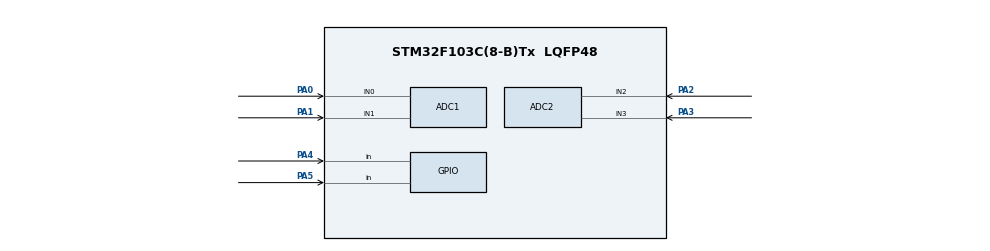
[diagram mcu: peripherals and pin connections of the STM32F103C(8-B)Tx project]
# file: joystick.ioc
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ADC1.Channel-0\#ChannelRegularConversion=ADC_CHANNEL_0
ADC1.NbrOfConversionFlag=1
ADC1.Rank-0\#ChannelRegularConversion=1
ADC1.SamplingTime-0\#ChannelRegularConversion=ADC_SAMPLETIME_55CYCLES_5
ADC1.master=1
ADC2.Channel-0\#ChannelRegularConversion=ADC_CHANNEL_2
ADC2.NbrOfConversionFlag=1
ADC2.Rank-0\#ChannelRegularConversion=1
ADC2.SamplingTime-0\#ChannelRegularConversion=ADC_SAMPLETIME_55CYCLES_5
Mcu.Family=STM32F1
Mcu.Name=STM32F103C(8-B)Tx
Mcu.Package=LQFP48
NVIC.PriorityGroup=NVIC_PRIORITYGROUP_4
PA0-WKUP.Signal=ADCx_IN0
PA1.Signal=ADCx_IN1
PA2.Signal=ADCx_IN2
PA3.Signal=ADCx_IN3
PA4.GPIO_PuPd=GPIO_PULLUP
PA4.Signal=GPIO_Input
PA5.GPIO_PuPd=GPIO_PULLUP
PA5.Signal=GPIO_Input
ProjectManager.HeapSize=0x200
ProjectManager.StackSize=0x400
ProjectManager.TargetToolchain=MDK-ARM V5.32
RCC.APB1Freq_Value=8000000
RCC.APB2Freq_Value=8000000
SH.ADCx_IN0.0=ADC1_IN0,IN0
SH.ADCx_IN1.0=ADC1_IN1,IN1
SH.ADCx_IN2.0=ADC2_IN2,IN2
SH.ADCx_IN3.0=ADC2_IN3,IN3
VP_SYS_VS_ND.Mode=No_Debug
board=custom

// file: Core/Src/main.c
/* USER CODE BEGIN Header */
/**
  ******************************************************************************
  * @file           : main.c
  * @brief          : Main program body
  ******************************************************************************
  * @attention
  *
  * Copyright (c) 2024 STMicroelectronics.
  * All rights reserved.
  *
  * This software is licensed under terms that can be found in the LICENSE file
  * in the root directory of this software component.
  * If no LICENSE file comes with this software, it is provided AS-IS.
  *
  ******************************************************************************
  */
/* USER CODE END Header */
#include "main.h"

/* USER CODE BEGIN Includes */
#include<stdio.h>
/* USER CODE END Includes */

/* USER CODE BEGIN PD */

// Cac dinh nghia va bien
#define BOARD_SIZE 3
#define JOYSTICK_THRESHOLD_LEFT 1000
#define JOYSTICK_THRESHOLD_RIGHT 3000
#define JOYSTICK_THRESHOLD_UP 3000
#define JOYSTICK_THRESHOLD_DOWN 1000

/* USER CODE END PD */

ADC_HandleTypeDef hadc1;
ADC_HandleTypeDef hadc2;

void SystemClock_Config(void);
static void MX_GPIO_Init(void);
static void MX_ADC1_Init(void);
static void MX_ADC2_Init(void);

/* USER CODE BEGIN 0 */

/*
1. Joystick 1: Nguoi choi 1 (ky hieu la 'X') su dung joystick dau tien voi cac truc X, Y trên PA0, PA1 và nut nhan PA4
2. Joystick 2: Nguoi choi 2 (Ky hieu la 'O') su dung joystick thu hai voi cac truc X, Y trên PA2, PA3 và nut nhan PA5
3. Hien thi ket qua tro choi qua UART
*/

char board[BOARD_SIZE][BOARD_SIZE]; // Bang tro choi
uint8_t cursorX[2] = {0, 0};        // Vi tri con tro cho 2 nguoi choi
uint8_t cursorY[2] = {0, 0};
uint8_t currentPlayer = 0;          // Nguoi choi hien tai (0 - 'X', 1 - 'O')
uint8_t isButtonPressed[2] = {0, 0}; // Trang thai nut nhan

// Hàm khoi tao bang caro
void InitializeBoard() {
    for (int i = 0; i < BOARD_SIZE; i++) {
        for (int j = 0; j < BOARD_SIZE; j++) {
            board[i][j] = ' ';
        }
    }
}

// Hàm doc gia tri ADC cho joystick
uint16_t Read_ADC(uint32_t channel) {
    ADC_ChannelConfTypeDef sConfig = {0};
    sConfig.Channel = channel;
    sConfig.Rank = ADC_REGULAR_RANK_1;
    sConfig.SamplingTime = ADC_SAMPLETIME_55CYCLES_5;
    HAL_ADC_ConfigChannel(&hadc1, &sConfig);

    HAL_ADC_Start(&hadc1);
    HAL_ADC_PollForConversion(&hadc1, HAL_MAX_DELAY);
    uint16_t value = HAL_ADC_GetValue(&hadc1);
    HAL_ADC_Stop(&hadc1);

    return value;
}

// Hàm in trang thai bang ra UART
void PrintBoard() {
    printf("\n");
    for (int i = 0; i < BOARD_SIZE; i++) {
        for (int j = 0; j < BOARD_SIZE; j++) {
            printf(" %c ", board[i][j]);
            if (j < BOARD_SIZE - 1) printf("|");
        }
        printf("\n");
        if (i < BOARD_SIZE - 1) printf("---|---|---\n");
    }
}

// Kiem tra dieu kien thang
char CheckWin() {
    for (int i = 0; i < BOARD_SIZE; i++) {
        // Kiem tra hàng ngang
        if (board[i][0] != ' ' && board[i][0] == board[i][1] && board[i][1] == board[i][2]) {
            return board[i][0];
        }
        // Kiem tra hang doc
        if (board[0][i] != ' ' && board[0][i] == board[1][i] && board[1][i] == board[2][i]) {
            return board[0][i];
        }
    }
    // Kiem tra duong cheo
    if (board[0][0] != ' ' && board[0][0] == board[1][1] && board[1][1] == board[2][2]) {
        return board[0][0];
    }
    if (board[0][2] != ' ' && board[0][2] == board[1][1] && board[1][1] == board[2][0]) {
        return board[0][2];
    }
    return ' '; // khong co nguoi chien thang
}

// Ham chuyen doi nguoi choi
void TogglePlayer() {
    currentPlayer = (currentPlayer == 0) ? 1 : 0;
}

/* USER CODE END 0 */

int main(void)
{

  /* MCU Configuration--------------------------------------------------------*/

  /* Reset of all peripherals, Initializes the Flash interface and the Systick. */
  HAL_Init();

  /* Configure the system clock */
  SystemClock_Config();

  /* Initialize all configured peripherals */
  MX_GPIO_Init();
  MX_ADC1_Init();
  MX_ADC2_Init();

  /* Infinite loop */
  /* USER CODE BEGIN WHILE */
	InitializeBoard();  // Khoi tao bang trong
  PrintBoard();       // Hien thi bang ban dau
  while (1)
  {
		// Doc gia tri tu joystick cua nguoi choi hien tai
        uint16_t xValue = Read_ADC((currentPlayer == 0) ? ADC_CHANNEL_0 : ADC_CHANNEL_2); // X
        uint16_t yValue = Read_ADC((currentPlayer == 0) ? ADC_CHANNEL_1 : ADC_CHANNEL_3); // Y

		// Dieu khien di chuyen con tro cua nguoi choi hien tai
        if (xValue < JOYSTICK_THRESHOLD_LEFT && cursorX[currentPlayer] > 0) {
            cursorX[currentPlayer]--; // Di chuyen sang trai
        } else if (xValue > JOYSTICK_THRESHOLD_RIGHT && cursorX[currentPlayer] < BOARD_SIZE - 1) {
            cursorX[currentPlayer]++; // Di chuyen sang phai
        } else if (yValue > JOYSTICK_THRESHOLD_UP && cursorY[currentPlayer] > 0) {
            cursorY[currentPlayer]--; // Di chuyen len
        } else if (yValue < JOYSTICK_THRESHOLD_DOWN && cursorY[currentPlayer] < BOARD_SIZE - 1) {
            cursorY[currentPlayer]++; // Di chuyen xuong
        }

				// Doc trang thai nut nhan cua nguoi choi hien tai
        GPIO_PinState buttonState = HAL_GPIO_ReadPin(GPIOA, (currentPlayer == 0) ? GPIO_PIN_4 : GPIO_PIN_5);

				 // Dah dau ô khi joystick duoc nhan
        if (buttonState == GPIO_PIN_RESET && !isButtonPressed[currentPlayer]) {
            if (board[cursorY[currentPlayer]][cursorX[currentPlayer]] == ' ') {
                // Danh dau 'X' - 'O' dua tren nguoi choi hien tai
                board[cursorY[currentPlayer]][cursorX[currentPlayer]] = (currentPlayer == 0) ? 'X' : 'O';
                PrintBoard();  // Hien thi bang sau khi danh dau
                char winner = CheckWin();
                if (winner != ' ') {
                    printf("Player %c wins!\n", winner);
                    InitializeBoard();  // Khoi tao lai bang sau khi co nguoi thang
                    PrintBoard();
                } else {
                    TogglePlayer(); // Neu chua co nguoi thang, chuyen luot cho nguoi khac
                }
            }
            isButtonPressed[currentPlayer] = 1; // Danh dau nut da duoc nhan
        } else if (buttonState == GPIO_PIN_SET) {
            isButtonPressed[currentPlayer] = 0; // Reset trang thai khi nhan nut
        }

        HAL_Delay(100);
	}
}
    /* USER CODE END WHILE */

void SystemClock_Config(void)
{
  RCC_OscInitTypeDef RCC_OscInitStruct = {0};
  RCC_ClkInitTypeDef RCC_ClkInitStruct = {0};
  RCC_PeriphCLKInitTypeDef PeriphClkInit = {0};

  /** Initializes the RCC Oscillators according to the specified parameters
  * in the RCC_OscInitTypeDef structure.
  */
  RCC_OscInitStruct.OscillatorType = RCC_OSCILLATORTYPE_HSI;
  RCC_OscInitStruct.HSIState = RCC_HSI_ON;
  RCC_OscInitStruct.HSICalibrationValue = RCC_HSICALIBRATION_DEFAULT;
  RCC_OscInitStruct.PLL.PLLState = RCC_PLL_NONE;
  if (HAL_RCC_OscConfig(&RCC_OscInitStruct) != HAL_OK)
  {
    Error_Handler();
  }

  /** Initializes the CPU, AHB and APB buses clocks
  */
  RCC_ClkInitStruct.ClockType = RCC_CLOCKTYPE_HCLK|RCC_CLOCKTYPE_SYSCLK
                              |RCC_CLOCKTYPE_PCLK1|RCC_CLOCKTYPE_PCLK2;
  RCC_ClkInitStruct.SYSCLKSource = RCC_SYSCLKSOURCE_HSI;
  RCC_ClkInitStruct.AHBCLKDivider = RCC_SYSCLK_DIV1;
  RCC_ClkInitStruct.APB1CLKDivider = RCC_HCLK_DIV1;
  RCC_ClkInitStruct.APB2CLKDivider = RCC_HCLK_DIV1;

  if (HAL_RCC_ClockConfig(&RCC_ClkInitStruct, FLASH_LATENCY_0) != HAL_OK)
  {
    Error_Handler();
  }
  PeriphClkInit.PeriphClockSelection = RCC_PERIPHCLK_ADC;
  PeriphClkInit.AdcClockSelection = RCC_ADCPCLK2_DIV2;
  if (HAL_RCCEx_PeriphCLKConfig(&PeriphClkInit) != HAL_OK)
  {
    Error_Handler();
  }
}

static void MX_ADC1_Init(void)
{

  ADC_ChannelConfTypeDef sConfig = {0};

  /** Common config
  */
  hadc1.Instance = ADC1;
  hadc1.Init.ScanConvMode = ADC_SCAN_DISABLE;
  hadc1.Init.ContinuousConvMode = DISABLE;
  hadc1.Init.DiscontinuousConvMode = DISABLE;
  hadc1.Init.ExternalTrigConv = ADC_SOFTWARE_START;
  hadc1.Init.DataAlign = ADC_DATAALIGN_RIGHT;
  hadc1.Init.NbrOfConversion = 1;
  if (HAL_ADC_Init(&hadc1) != HAL_OK)
  {
    Error_Handler();
  }

  /** Configure Regular Channel
  */
  sConfig.Channel = ADC_CHANNEL_0;
  sConfig.Rank = ADC_REGULAR_RANK_1;
  sConfig.SamplingTime = ADC_SAMPLETIME_55CYCLES_5;
  if (HAL_ADC_ConfigChannel(&hadc1, &sConfig) != HAL_OK)
  {
    Error_Handler();
  }

}

static void MX_ADC2_Init(void)
{

  ADC_ChannelConfTypeDef sConfig = {0};

  /** Common config
  */
  hadc2.Instance = ADC2;
  hadc2.Init.ScanConvMode = ADC_SCAN_DISABLE;
  hadc2.Init.ContinuousConvMode = DISABLE;
  hadc2.Init.DiscontinuousConvMode = DISABLE;
  hadc2.Init.ExternalTrigConv = ADC_SOFTWARE_START;
  hadc2.Init.DataAlign = ADC_DATAALIGN_RIGHT;
  hadc2.Init.NbrOfConversion = 1;
  if (HAL_ADC_Init(&hadc2) != HAL_OK)
  {
    Error_Handler();
  }

  /** Configure Regular Channel
  */
  sConfig.Channel = ADC_CHANNEL_2;
  sConfig.Rank = ADC_REGULAR_RANK_1;
  sConfig.SamplingTime = ADC_SAMPLETIME_55CYCLES_5;
  if (HAL_ADC_ConfigChannel(&hadc2, &sConfig) != HAL_OK)
  {
    Error_Handler();
  }

}

static void MX_GPIO_Init(void)
{
  GPIO_InitTypeDef GPIO_InitStruct = {0};

  /* GPIO Ports Clock Enable */
  __HAL_RCC_GPIOA_CLK_ENABLE();

  /*Configure GPIO pins : PA4 PA5 */
  GPIO_InitStruct.Pin = GPIO_PIN_4|GPIO_PIN_5;
  GPIO_InitStruct.Mode = GPIO_MODE_INPUT;
  GPIO_InitStruct.Pull = GPIO_PULLUP;
  HAL_GPIO_Init(GPIOA, &GPIO_InitStruct);

}

void Error_Handler(void)
{
  __disable_irq();
  while (1)
  {
  }
}
